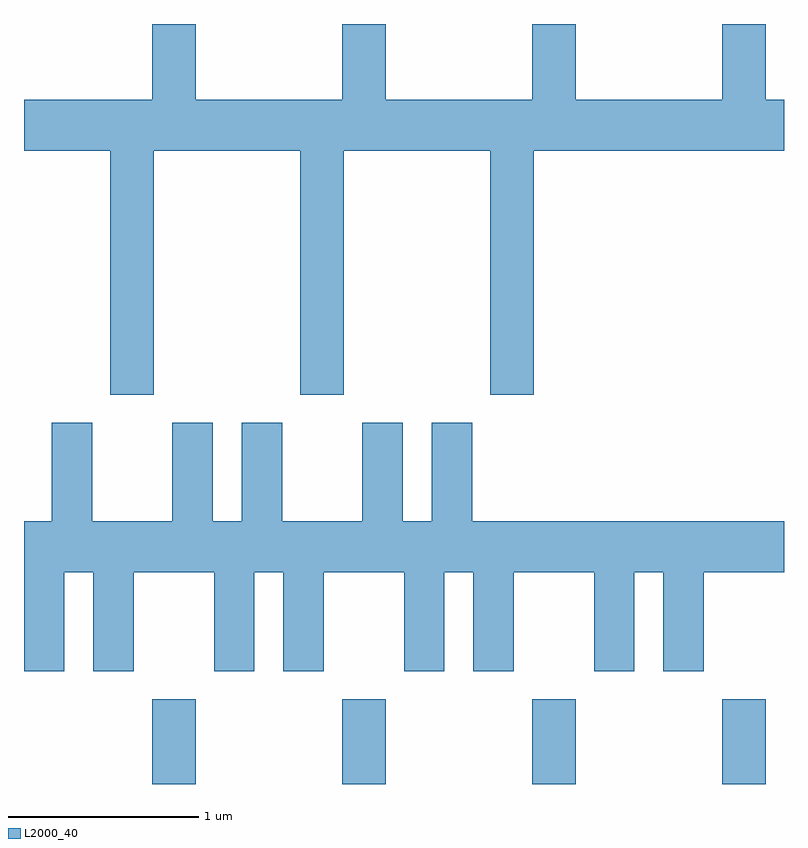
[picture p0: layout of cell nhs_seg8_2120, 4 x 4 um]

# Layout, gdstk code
import gdstk
lib = gdstk.Library(unit=1e-6, precision=1e-09)
def R(c, l, rs):  # rectangles x0, y0, x1, y1
    for r in rs: c.add(gdstk.rectangle(r[:2], r[2:], *l))
def A(c, l, x, y, w, h, nx, ny, dx, dy):  # array of equal rectangles
    R(c, l, [(x+i*dx, y+j*dy, x+i*dx+w, y+j*dy+h) for i in range(nx) for j in range(ny)])
def P(c, l, *ps):  # polygons
    for p in ps: c.add(gdstk.Polygon(p, *l))
L2000_40 = (2000, 40)

nhs_seg8_2120 = lib.new_cell('nhs_seg8_2120')
A(nhs_seg8_2120, L2000_40, 248.286, 1906.342, 0.228, 0.447, 4, 1, 1, 0)
P(nhs_seg8_2120, L2000_40, [(248.294,1909.676),(249.066,1909.676),(249.066,1908.391),(249.294,1908.391),(249.294,1909.676),(250.066,1909.676),(250.066,1908.391),(250.294,1908.391),(250.294,1909.676),(251.611,1909.676),(251.611,1909.944),(251.514,1909.944),(251.514,1910.342),(251.286,1910.342),(251.286,1909.944),(250.514,1909.944),(250.514,1910.342),(250.286,1910.342),(250.286,1909.944),(249.514,1909.944),(249.514,1910.342),(249.286,1910.342),(249.286,1909.944),(248.514,1909.944),(248.514,1910.342),(248.286,1910.342),(248.286,1909.944),(247.611,1909.944),(247.611,1909.676),(248.066,1909.676),(248.066,1908.391),(248.294,1908.391)],
  [(248.611,1906.936),(248.824,1906.936),(248.824,1907.456),(248.976,1907.456),(248.976,1906.936),(249.189,1906.936),(249.189,1907.456),(249.611,1907.456),(249.611,1906.936),(249.824,1906.936),(249.824,1907.456),(249.976,1907.456),(249.976,1906.936),(250.189,1906.936),(250.189,1907.456),(250.611,1907.456),(250.611,1906.936),(250.824,1906.936),(250.824,1907.456),(250.976,1907.456),(250.976,1906.936),(251.189,1906.936),(251.189,1907.456),(251.611,1907.456),(251.611,1907.724),(249.969,1907.724),(249.969,1908.244),(249.756,1908.244),(249.756,1907.724),(249.604,1907.724),(249.604,1908.244),(249.391,1908.244),(249.391,1907.724),(248.969,1907.724),(248.969,1908.244),(248.756,1908.244),(248.756,1907.724),(248.604,1907.724),(248.604,1908.244),(248.391,1908.244),(248.391,1907.724),(247.969,1907.724),(247.969,1908.244),(247.756,1908.244),(247.756,1907.724),(247.611,1907.724),(247.611,1906.936),(247.824,1906.936),(247.824,1907.456),(247.976,1907.456),(247.976,1906.936),(248.189,1906.936),(248.189,1907.456),(248.611,1907.456)])

lib.write_gds('nhs_seg8_2120.gds')
